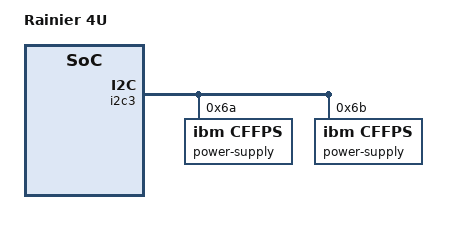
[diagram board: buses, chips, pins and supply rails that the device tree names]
// SPDX-License-Identifier: GPL-2.0-or-later
// Copyright 2020 IBM Corp.
/dts-v1/;

#include "aspeed-bmc-ibm-rainier.dts"

/ {
	model = "Rainier 4U";
};

&i2c3 {
	power-supply@6a {
		compatible = "ibm,cffps";
		reg = <0x6a>;
	};

	power-supply@6b {
		compatible = "ibm,cffps";
		reg = <0x6b>;
	};
};

&fan0 {
	tach-pulses = <4>;
	/delete-property/ maxim,fan-dual-tach;
};

&fan1 {
	tach-pulses = <4>;
	/delete-property/ maxim,fan-dual-tach;
};

&fan2 {
	tach-pulses = <4>;
	/delete-property/ maxim,fan-dual-tach;
};

&fan3 {
	tach-pulses = <4>;
	/delete-property/ maxim,fan-dual-tach;
};

&fan4 {
	tach-pulses = <4>;
	/delete-property/ maxim,fan-dual-tach;
};

&fan5 {
	tach-pulses = <4>;
	/delete-property/ maxim,fan-dual-tach;
};
